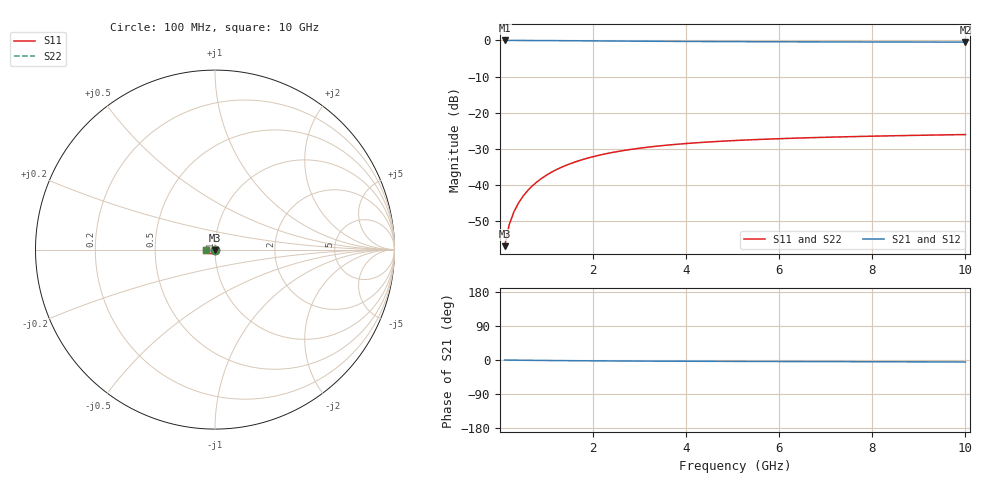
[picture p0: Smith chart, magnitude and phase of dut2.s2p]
! Touchstone file exported from HFSS 2024.1.0
!  File:  C:/UserFiles/LocalFiles/RDL_TSV_Batchsim/temp_TSV1_2_1778745865.aedt
!  Generated:  04:11:29 PM May 14, 2026
!  Design:  TSV1
!  Project:  temp_TSV1_2_1778745865
!  Setup:  Setup1
!  Solution:  Sweep
! Variables:
!  dtsv = 11.72um
!  hbump = 3um
!  htsv = 80.4um
!  lrdl = 252.1521522um
!  p = 40
!  p1 = 53.51um
!  t = 500um
!  trdl = 3um
!  wrdl = 24.89489489um
# GHz S MA R 50.000000
! Terminal data exported
! Port[1] = TSV22_T1
! Port[2] = TSV22_T2
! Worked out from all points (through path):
!   100 points, 100 MHz to 10 GHz, reference 50 ohm
!   highest |S21| = 0.00 dB at 100 MHz (marker M1); lowest = -0.5 dB at 10 GHz (marker M2)
!   lowest |S11| = -57.0 dB at 100 MHz (marker M3), VSWR 1.00, Z = 50 - j0.14 ohm
!   |S11| at or under -10 dB: start of sweep to end of sweep
!   |S22| runs from -57.0 to -26.1 dB; largest |S21 - S12| = 5.9e-15
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0.1  0.001406 -87.5  0.9998 -0.1  0.9998 -0.1  0.001406 -87.5
! Gamma 0 0 0 0
! Port Impedance 50 0 50 0
0.2  0.002806 -91.4  0.9997 -0.3  0.9997 -0.3  0.002806 -91.4
0.3  0.004205 -93.9  0.9995 -0.4  0.9995 -0.4  0.004205 -93.9
0.4  0.005597 -96.0  0.9991 -0.5  0.9991 -0.5  0.005597 -96.0
0.5  0.006978 -98.1  0.9987 -0.7  0.9987 -0.7  0.006978 -98.1
0.6  0.008344 -100.0  0.9982 -0.8  0.9982 -0.8  0.008344 -100.0
0.7  0.009689 -101.9  0.9977 -0.9  0.9977 -0.9  0.009689 -101.9
0.8  0.01101 -103.8  0.997 -1.0  0.997 -1.0  0.01101 -103.8
0.9  0.01231 -105.7  0.9963 -1.1  0.9963 -1.1  0.01231 -105.7
1.1  0.01482 -109.2  0.9948 -1.4  0.9948 -1.4  0.01482 -109.2
1.4  0.01834 -114.3  0.9922 -1.7  0.9922 -1.7  0.01834 -114.3
1.6  0.02052 -117.5  0.9903 -1.9  0.9903 -1.9  0.02052 -117.5
1.8  0.02256 -120.5  0.9883 -2.0  0.9883 -2.0  0.02256 -120.5
2.1  0.02536 -124.9  0.9853 -2.3  0.9853 -2.3  0.02536 -124.9
2.5  0.02863 -130.2  0.9814 -2.6  0.9814 -2.6  0.02863 -130.2
2.9  0.03143 -135.0  0.9777 -2.8  0.9777 -2.8  0.03143 -135.0
3.4  0.03437 -140.3  0.9735 -3.0  0.9735 -3.0  0.03437 -140.3
4.2  0.03805 -147.7  0.9677 -3.4  0.9677 -3.4  0.03805 -147.7
5.1  0.04113 -154.6  0.9626 -3.7  0.9626 -3.7  0.04113 -154.6
6.7  0.04491 -164.4  0.9562 -4.2  0.9562 -4.2  0.04491 -164.4
8.4  0.04764 -172.6  0.9518 -4.7  0.9518 -4.7  0.04763 -172.6
10  0.04959 -179.0  0.9489 -5.2  0.9489 -5.2  0.04959 -179.0
